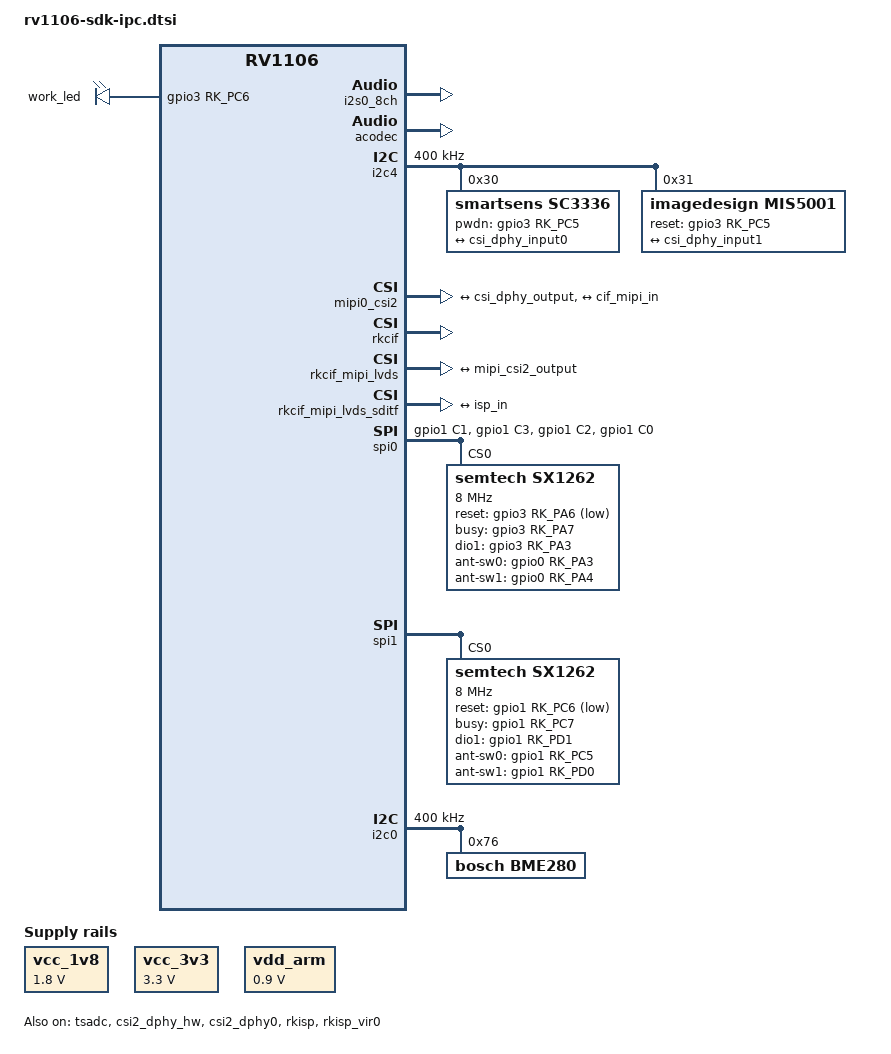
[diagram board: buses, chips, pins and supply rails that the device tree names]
// SPDX-License-Identifier: (GPL-2.0+ OR MIT)
/*
 * Copyright (c) 2022 Rockchip Electronics Co., Ltd.
 */
#include "rv1106-amp.dtsi"

/ {
	chosen {
		bootargs = "earlycon=uart8250,mmio32,0xff4c0000 console=ttyFIQ0 root=/dev/mmcblk1p7 rootwait snd_soc_core.prealloc_buffer_size_kbytes=16 coherent_pool=0";
	};

	acodec_sound: acodec-sound {
		compatible = "simple-audio-card";
		simple-audio-card,name = "rv-acodec";
		simple-audio-card,format = "i2s";
		simple-audio-card,mclk-fs = <256>;
		simple-audio-card,cpu {
			sound-dai = <&i2s0_8ch>;
		};
		simple-audio-card,codec {
			sound-dai = <&acodec>;
		};
	};

	vcc_1v8: vcc-1v8 {
		compatible = "regulator-fixed";
		regulator-name = "vcc_1v8";
		regulator-always-on;
		regulator-boot-on;
		regulator-min-microvolt = <1800000>;
		regulator-max-microvolt = <1800000>;
	};

	vcc_3v3: vcc-3v3 {
		compatible = "regulator-fixed";
		regulator-name = "vcc_3v3";
		regulator-always-on;
		regulator-boot-on;
		regulator-min-microvolt = <3300000>;
		regulator-max-microvolt = <3300000>;
	};

	vdd_arm: vdd-arm {
		compatible = "regulator-fixed";
		regulator-name = "vdd_arm";
		regulator-min-microvolt = <900000>;
		regulator-max-microvolt = <900000>;
		regulator-always-on;
		regulator-boot-on;
	};
	leds: leds {
		compatible = "gpio-leds";
		work_led: work{
			gpios = <&gpio3 RK_PC6 GPIO_ACTIVE_HIGH>;
			linux,default-trigger = "activity";
			default-state = "on";
		};	
	};

};

/***************************** AUDIO ********************************/
&i2s0_8ch {
	#sound-dai-cells = <0>;
	status = "okay";
};

&acodec {
	#sound-dai-cells = <0>;
	pa-ctl-gpios = <&gpio1 RK_PA1 GPIO_ACTIVE_HIGH>;
	status = "okay";
};
/***************************** CPU ********************************/
&cpu0 {
	cpu-supply = <&vdd_arm>;
};

/***************************** ADC ********************************/
/* SARADC (SoC successive-approximation ADC) unused — disabled so it does not
 * register an IIO device (otherwise it takes iio:device0 before the BME280). */
&saradc {
	status = "disabled";
	vref-supply = <&vcc_1v8>;
};

&tsadc {
	status = "okay";
};

/***************************** CSI ********************************/
&csi2_dphy_hw {
	status = "okay";
};

&csi2_dphy0 {
	status = "okay";

	ports {
		#address-cells = <1>;
		#size-cells = <0>;

		port@0 {
			reg = <0>;
			#address-cells = <1>;
			#size-cells = <0>;

			csi_dphy_input0: endpoint@0 {
				reg = <0>;
				remote-endpoint = <&sc3336_out>;
				data-lanes = <1 2>;
			};

			csi_dphy_input1: endpoint@1 {
				reg = <1>;
				remote-endpoint = <&mis5001_out>;
				data-lanes = <1 2>;
			};
		};

		port@1 {
			reg = <1>;
			#address-cells = <1>;
			#size-cells = <0>;

			csi_dphy_output: endpoint@0 {
				reg = <0>;
				remote-endpoint = <&mipi_csi2_input>;
			};
		};
	};
};

&i2c4 {
	status = "okay";
	clock-frequency = <400000>;

	sc3336: sc3336@30 {
		compatible = "smartsens,sc3336";
		status = "okay";
		reg = <0x30>;
		clocks = <&cru MCLK_REF_MIPI0>;
		clock-names = "xvclk";
		pwdn-gpios = <&gpio3 RK_PC5 GPIO_ACTIVE_HIGH>;
		pinctrl-names = "default";
		pinctrl-0 = <&mipi_refclk_out0>;
		rockchip,camera-module-index = <0>;
		rockchip,camera-module-facing = "back";
		rockchip,camera-module-name = "CMK-OT2119-PC1";
		rockchip,camera-module-lens-name = "30IRC-F16";
		port {
			sc3336_out: endpoint {
				remote-endpoint = <&csi_dphy_input0>;
				data-lanes = <1 2>;
			};
		};
	};

	mis5001: mis5001@31 {
		compatible = "imagedesign,mis5001";
		status = "okay";
		reg = <0x31>;
		clocks = <&cru MCLK_REF_MIPI0>;
		clock-names = "xvclk";
		reset-gpios = <&gpio3 RK_PC5 GPIO_ACTIVE_HIGH>;
		pinctrl-names = "default";
		pinctrl-0 = <&mipi_refclk_out0>;
		rockchip,camera-module-index = <0>;
		rockchip,camera-module-facing = "back";
		rockchip,camera-module-name = "CMK-OT2115-PC1";
		rockchip,camera-module-lens-name = "30IRC-F16";
		port {
			mis5001_out: endpoint {
				remote-endpoint = <&csi_dphy_input1>;
				data-lanes = <1 2>;
			};
		};
	};
};

&mipi0_csi2 {
	status = "okay";

	ports {
		#address-cells = <1>;
		#size-cells = <0>;

		port@0 {
			reg = <0>;
			#address-cells = <1>;
			#size-cells = <0>;

			mipi_csi2_input: endpoint@1 {
				reg = <1>;
				remote-endpoint = <&csi_dphy_output>;
			};
		};

		port@1 {
			reg = <1>;
			#address-cells = <1>;
			#size-cells = <0>;

			mipi_csi2_output: endpoint@0 {
				reg = <0>;
				remote-endpoint = <&cif_mipi_in>;
			};
		};
	};
};

&rkcif {
	status = "okay";
};

&rkcif_mipi_lvds {
	status = "okay";

	pinctrl-names = "default";
	pinctrl-0 = <&mipi_pins>;
	port {
		/* MIPI CSI-2 endpoint */
		cif_mipi_in: endpoint {
			remote-endpoint = <&mipi_csi2_output>;
		};
	};
};

&rkcif_mipi_lvds_sditf {
	status = "okay";

	port {
		/* MIPI CSI-2 endpoint */
		mipi_lvds_sditf: endpoint {
			remote-endpoint = <&isp_in>;
		};
	};
};

&rkisp {
	status = "okay";
};

&rkisp_vir0 {
	status = "okay";

	port@0 {
		isp_in: endpoint {
			remote-endpoint = <&mipi_lvds_sditf>;
		};
	};
};


/*****************************PINCTRL********************************/
// SPI
&spi0 {
	pinctrl-0 = <&spi0m0_clk &spi0m0_miso &spi0m0_mosi &spi0m0_cs0>;
	#address-cells = <1>;
	#size-cells = <0>;
	status = "okay";
	sx1262@0 {
		compatible = "semtech,sx1262";
		reg = <0>;
		spi-max-frequency = <8000000>;
		pinctrl-names = "default";
		pinctrl-0 = <&sx1262_dev0_pins>;
		reset-gpios = <&gpio3 RK_PA6 GPIO_ACTIVE_LOW>;
		busy-gpios = <&gpio3 RK_PA7 GPIO_ACTIVE_HIGH>;
		dio1-gpios = <&gpio3 RK_PA3 GPIO_ACTIVE_HIGH>;
		ant-sw0-gpios = <&gpio0 RK_PA3 GPIO_ACTIVE_HIGH>;
		ant-sw1-gpios = <&gpio0 RK_PA4 GPIO_ACTIVE_HIGH>;
	};
};

&spi1 {
	pinctrl-0 = <&spi1m0_pins &spi1m0_cs0>;
	#address-cells = <1>;
	#size-cells = <0>;
	status = "okay";
	sx1262@0 {
		compatible = "semtech,sx1262";
		reg = <0>;
		spi-max-frequency = <8000000>;
		pinctrl-names = "default";
		pinctrl-0 = <&sx1262_dev1_pins>;
		reset-gpios = <&gpio1 RK_PC6 GPIO_ACTIVE_LOW>;
		busy-gpios = <&gpio1 RK_PC7 GPIO_ACTIVE_HIGH>;
		dio1-gpios = <&gpio1 RK_PD1 GPIO_ACTIVE_HIGH>;
		ant-sw0-gpios = <&gpio1 RK_PC5 GPIO_ACTIVE_HIGH>;
		ant-sw1-gpios = <&gpio1 RK_PD0 GPIO_ACTIVE_HIGH>;
	};
};

/*
 * Peripherals whose (board-routed) pins are reused by the two SX1262 radios.
 * Their pinctrl-0 mux groups (set above) drive pins the radios occupy:
 *   uart3(m1) PD1/PD0, uart4(m1) PC5, uart5(m0) PA7/PA6,
 *   pwm2/4/5/6(m2) PC0/PC1/PC2/PC3 (SPI0), pwm3(m2) PD0,
 *   pwm9(m1) PC5, pwm10(m1) PC6/PD1, pwm11(m1) PC7.
 */
&uart3 { status = "disabled"; };
&uart4 { status = "disabled"; };
&uart5 { status = "disabled"; };
&pwm2  { status = "disabled"; };
&pwm3  { status = "disabled"; };
&pwm4  { status = "disabled"; };
&pwm5  { status = "disabled"; };
&pwm6  { status = "disabled"; };
&pwm9  { status = "disabled"; };
&pwm10 { status = "disabled"; };
&pwm11 { status = "disabled"; };

// I2C
/*
 * BME280 (temp/pressure/humidity) on I2C0, mux m0:
 *   SCK -> i2c0_scl_m0 = GPIO1_A3
 *   SDI -> i2c0_sda_m0 = GPIO1_A4
 * I2C address 0x76 (SDO tied low). Use 0x77 if SDO is tied high.
 */
&i2c0 {
	status = "okay";
	pinctrl-names = "default";
	pinctrl-0 = <&i2c0m0_xfer>;
	clock-frequency = <400000>;

	bme280: bme280@76 {
		compatible = "bosch,bme280";
		reg = <0x76>;
	};
};

&i2c1 {
	pinctrl-0 = <&i2c1m1_xfer>;
};

&i2c3 {
	pinctrl-0 = <&i2c3m1_xfer &i2c3m0_xfer>;
};

&i2c4 {
	pinctrl-names = "default", "conifg";
	pinctrl-0 = <&i2c4m2_xfer>;
	pinctrl-1 = <&i2c4m0_xfer>;
};

// UART
&uart0 {
	pinctrl-0 = <&uart0m0_xfer &uart0m1_xfer>;
};
&uart1 {
	pinctrl-0 = <&uart1m1_xfer>;
};
&uart3 {
	pinctrl-0 = <&uart3m1_xfer>;
};
&uart4 {
	pinctrl-0 = <&uart4m1_xfer>;
};
&uart5 {
	pinctrl-0 = <&uart5m0_xfer>;
};

// PWM
&pwm0 {
	pinctrl-0 = <&pwm0m1_pins>;
};
&pwm2 {
	pinctrl-0 = <&pwm2m2_pins>;
};
&pwm3 {
	pinctrl-0 = <&pwm3m2_pins>;
};
&pwm4 {
	pinctrl-0 = <&pwm4m2_pins>;
};
&pwm5 {
	pinctrl-0 = <&pwm5m1_pins &pwm5m2_pins>;
};
&pwm6 {
	pinctrl-0 = <&pwm6m1_pins &pwm6m2_pins>;
};
&pwm8 {
	pinctrl-0 = <&pwm8m1_pins>;
};
&pwm9 {
	pinctrl-0 = <&pwm9m1_pins>;
};
&pwm10 {
	pinctrl-0 = <&pwm10m1_pins &pwm10m2_pins>;
};
&pwm11 {
	pinctrl-0 = <&pwm11m1_pins &pwm11m2_pins>;
};

&pinctrl {
	spi0 {
		spi0m0_clk: spi0m0-clk {
			rockchip,pins = <1 RK_PC1 4 &pcfg_pull_none>;
		};
		spi0m0_mosi: spi0m0-mosi {
			rockchip,pins = <1 RK_PC2 6 &pcfg_pull_none>;
		};
		spi0m0_miso: spi0m0-miso {
			rockchip,pins = <1 RK_PC3 6 &pcfg_pull_none>;
		};
		spi0m0_cs0: spi0m0-cs0 {
			rockchip,pins = <1 RK_PC0 4 &pcfg_pull_none>;
		};
	};

	sx1262 {
		sx1262_dev0_pins: sx1262-dev0-pins {
			rockchip,pins =
				<3 RK_PA6 RK_FUNC_GPIO &pcfg_pull_up>,
				<3 RK_PA7 RK_FUNC_GPIO &pcfg_pull_up>,
				<3 RK_PA3 RK_FUNC_GPIO &pcfg_pull_none>,
				<0 RK_PA3 RK_FUNC_GPIO &pcfg_pull_none>,
				<0 RK_PA4 RK_FUNC_GPIO &pcfg_pull_none>;
		};
		sx1262_dev1_pins: sx1262-dev1-pins {
			rockchip,pins =
				<1 RK_PC6 RK_FUNC_GPIO &pcfg_pull_up>,
				<1 RK_PC7 RK_FUNC_GPIO &pcfg_pull_up>,
				<1 RK_PD1 RK_FUNC_GPIO &pcfg_pull_none>,
				<1 RK_PC5 RK_FUNC_GPIO &pcfg_pull_none>,
				<1 RK_PD0 RK_FUNC_GPIO &pcfg_pull_none>;
		};
	};
};

